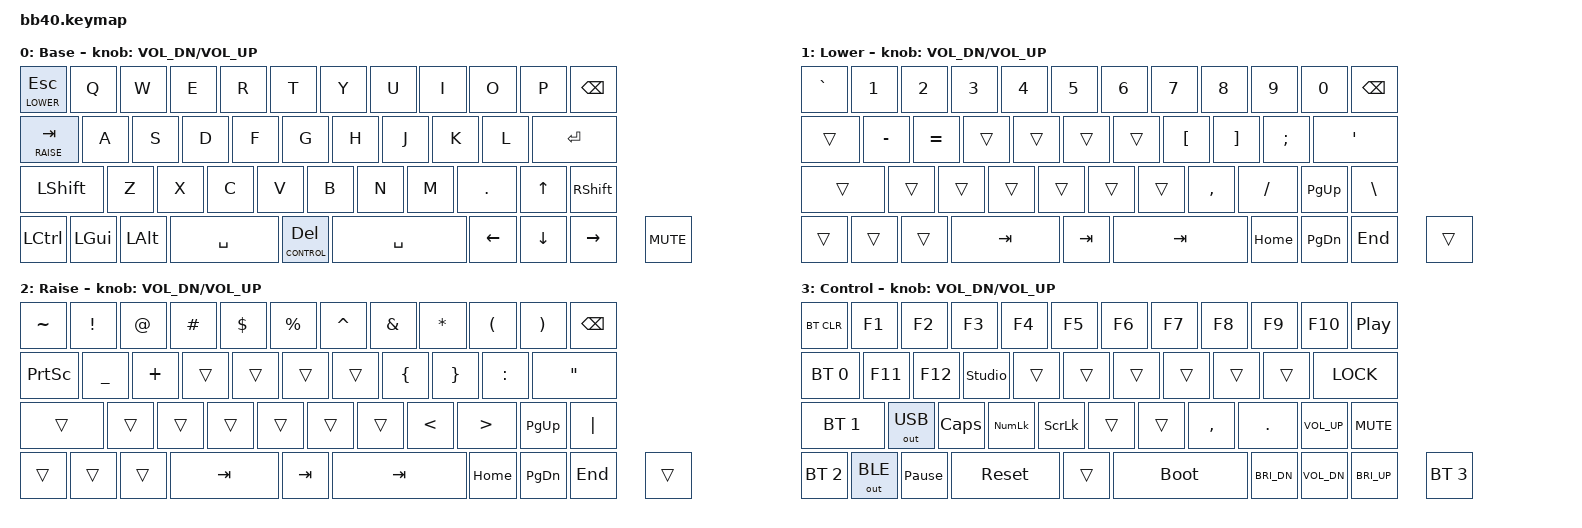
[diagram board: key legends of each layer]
/*
 * Copyright (c) 2026 The ZMK Contributors
 * SPDX-License-Identifier: MIT
 *
 * BB40 keymap, adapted from a MechWild S40NC-style 40% layout: no
 * dedicated number row -- the top physical row holds letters directly,
 * numbers/symbols live on Lower/Raise, and Control holds function keys,
 * Bluetooth, and system behaviors. Binding order matches the physical
 * layout / matrix transform exactly (row by row, left to right, 44
 * positions total, including the encoder's push-button as the last key
 * in the bottom row).
 */

#include <behaviors.dtsi>
#include <dt-bindings/zmk/keys.h>
#include <dt-bindings/zmk/bt.h>
#include <dt-bindings/zmk/outputs.h>

#define DEFAULT 0
#define LOWER   1
#define RAISE   2
#define CONTROL 3

/ {
    keymap {
        compatible = "zmk,keymap";

        default_layer {
            display-name = "Base";
            bindings = <
                &lt LOWER ESC &kp Q &kp W &kp E &kp R &kp T &kp Y &kp U &kp I &kp O &kp P &kp BSPC
                &lt RAISE TAB &kp A &kp S &kp D &kp F &kp G &kp H &kp J &kp K &kp L &kp ENTER
                &kp LSHFT &kp Z &kp X &kp C &kp V &kp B &kp N &kp M &kp DOT &kp UP &kp RSHFT
                &kp LCTRL &kp LGUI &kp LALT &kp SPACE &lt CONTROL DELETE &kp SPACE &kp LEFT &kp DOWN &kp RIGHT &kp C_MUTE
            >;
            sensor-bindings = <&inc_dec_kp C_VOL_DN C_VOL_UP>;
        };

        lower_layer {
            display-name = "Lower";
            bindings = <
                &kp GRAVE &kp N1 &kp N2 &kp N3 &kp N4 &kp N5 &kp N6 &kp N7 &kp N8 &kp N9 &kp N0 &kp BSPC
                &trans &kp MINUS &kp EQUAL &trans &trans &trans &trans &kp LBKT &kp RBKT &kp SEMI &kp APOS
                &trans &trans &trans &trans &trans &trans &trans &kp COMMA &kp FSLH &kp PG_UP &kp BSLH
                &trans &trans &trans &kp TAB &kp TAB &kp TAB &kp HOME &kp PG_DN &kp END &trans
            >;
            sensor-bindings = <&inc_dec_kp C_VOL_DN C_VOL_UP>;
        };

        raise_layer {
            display-name = "Raise";
            bindings = <
                &kp TILDE &kp EXCL &kp AT &kp HASH &kp DLLR &kp PRCNT &kp CARET &kp AMPS &kp STAR &kp LPAR &kp RPAR &kp BSPC
                &kp PSCRN &kp UNDER &kp PLUS &trans &trans &trans &trans &kp LBRC &kp RBRC &kp COLON &kp DQT
                &trans &trans &trans &trans &trans &trans &trans &kp LT &kp GT &kp PG_UP &kp PIPE
                &trans &trans &trans &kp TAB &kp TAB &kp TAB &kp HOME &kp PG_DN &kp END &trans
            >;
            sensor-bindings = <&inc_dec_kp C_VOL_DN C_VOL_UP>;
        };

        control_layer {
            display-name = "Control";
            bindings = <
                &bt BT_CLR &kp F1 &kp F2 &kp F3 &kp F4 &kp F5 &kp F6 &kp F7 &kp F8 &kp F9 &kp F10 &kp C_PP
                &bt BT_SEL 0 &kp F11 &kp F12 &studio_unlock &trans &trans &trans &trans &trans &trans &kp K_LOCK
                &bt BT_SEL 1 &out OUT_USB &kp CAPS &kp KP_NUM &kp SLCK &trans &trans &kp COMMA &kp DOT &kp C_VOL_UP &kp C_MUTE
                &bt BT_SEL 2 &out OUT_BLE &kp PAUSE_BREAK &sys_reset &trans &bootloader &kp C_BRI_DN &kp C_VOL_DN &kp C_BRI_UP &bt BT_SEL 3
            >;
            sensor-bindings = <&inc_dec_kp C_VOL_DN C_VOL_UP>;
        };
    };
};
